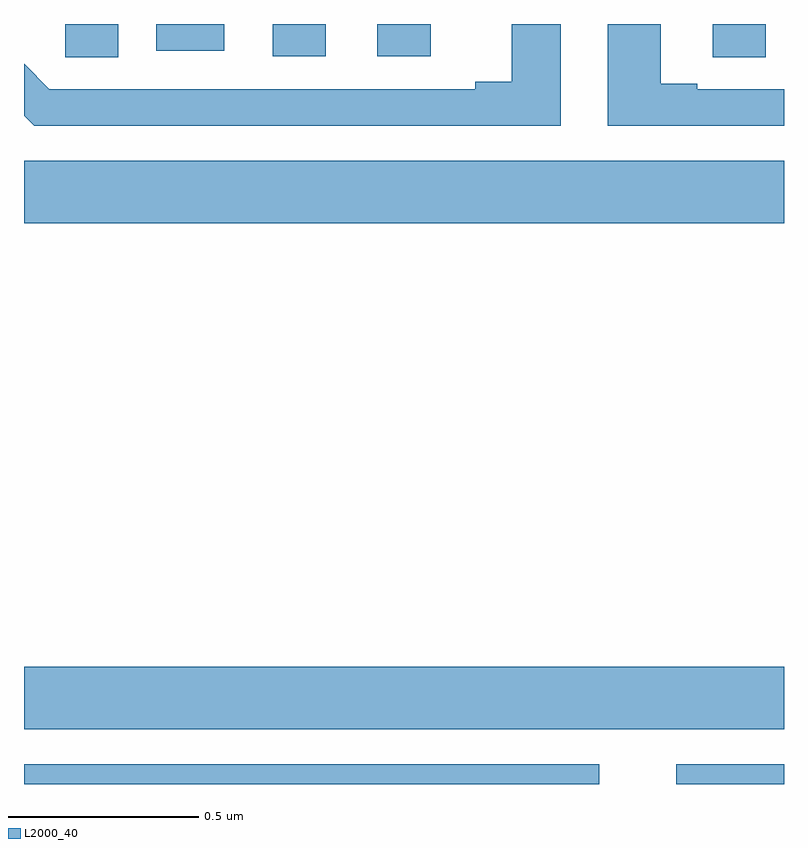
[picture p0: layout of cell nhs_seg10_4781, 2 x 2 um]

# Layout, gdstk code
import gdstk
lib = gdstk.Library(unit=1e-6, precision=1e-09)
def R(c, l, rs):  # rectangles x0, y0, x1, y1
    for r in rs: c.add(gdstk.rectangle(r[:2], r[2:], *l))
def P(c, l, *ps):  # polygons
    for p in ps: c.add(gdstk.Polygon(p, *l))
L2000_40 = (2000, 40)

nhs_seg10_4781 = lib.new_cell('nhs_seg10_4781')
R(nhs_seg10_4781, L2000_40, [(170,1305.5,171.514,1305.552), (171.716,1305.5,172,1305.552), (170,1305.644,172,1305.808), (170,1306.976,172,1307.14), (170.109,1307.413,170.248,1307.5), (171.813,1307.413,171.952,1307.5), (170.654,1307.415,170.794,1307.5), (170.93,1307.415,171.07,1307.5), (170.348,1307.43,170.527,1307.5)])
P(nhs_seg10_4781, L2000_40, [(171.412,1307.5),(171.284,1307.5),(171.284,1307.348),(171.188,1307.348),(171.188,1307.328),(170.067,1307.328),(170,1307.395),(170,1307.259),(170.027,1307.232),(171.412,1307.232)],
  [(172,1307.328),(171.772,1307.328),(171.772,1307.343),(171.676,1307.343),(171.676,1307.5),(171.536,1307.5),(171.536,1307.232),(172,1307.232)])

lib.write_gds('nhs_seg10_4781.gds')
